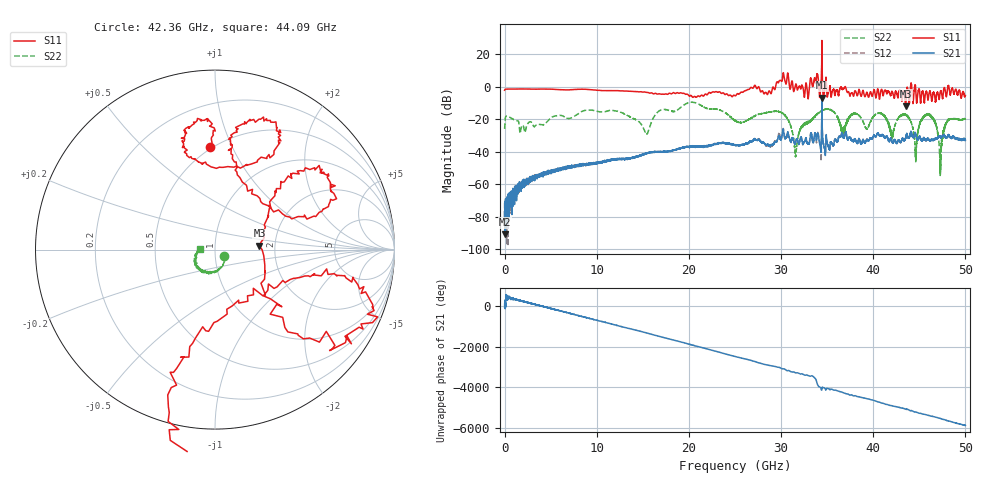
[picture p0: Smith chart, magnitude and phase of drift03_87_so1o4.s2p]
!Created with skrf (http://scikit-rf.org).
# Hz S RI R 50.0
!freq ReS11 ImS11 ReS21 ImS21 ReS12 ImS12 ReS22 ImS22
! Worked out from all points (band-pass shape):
!   10000 points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, 5.3 MHz to 50 GHz, reference 50 ohm
!   highest |S21| = -6.68 dB at 34.43 GHz (marker M1); lowest = -90.8 dB at 85.3 MHz (marker M2)
!   |S21| within 3 dB of the highest: 34.42733 GHz to 34.43518 GHz (7.843 MHz wide, 0.0228 % of centre)
!   lowest |S11| = -12.1 dB at 43.52 GHz (marker M3), VSWR 1.66, Z = 82.8 + j3.94 ohm
!   |S11| at or under -10 dB: 43.48395 GHz to 43.54854 GHz (64.58 MHz wide, 0.148 % of centre); 44.30408 GHz to 44.31874 GHz (14.66 MHz wide, 0.0331 % of centre); 45.13487 GHz to 45.14093 GHz (6.065 MHz wide, 0.0134 % of centre) (the widest 3 of 7)
!   |S22| runs from -54.6 to -9.5 dB; largest |S21 - S12| = 0.12
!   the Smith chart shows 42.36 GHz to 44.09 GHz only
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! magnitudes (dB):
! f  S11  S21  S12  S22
! 5.3 MHz  -2.1  -80.2  -71.4  -25.9
! 85.3 MHz  -1.5  -90.8  -76.7  -19.0
! 2.5 GHz  -1.4  -58.3  -58.8  -22.8
! 8.34 GHz  -1.5  -48.0  -48.0  -15.3
! 15.4 GHz  -3.5  -41.1  -40.8  -29.0
! 16.67 GHz  -4.4  -40.2  -39.9  -15.3
! 20.47 GHz  -6.4  -37.0  -36.7  -9.5
! 25.01 GHz  -5.5  -35.6  -35.9  -20.7
! 29.93 GHz  4.0  -32.5  -31.7  -15.6
! 31.59 GHz  1.4  -33.8  -33.8  -42.5
! 33.34 GHz  2.6  -30.3  -30.5  -20.1
! 34.43 GHz  28.5  -6.7  -8.4  -14.5
! 36.69 GHz  -1.5  -30.0  -30.0  -27.4
! 37.95 GHz  -3.7  -32.3  -32.4  -16.3
! 41.67 GHz  -2.9  -33.5  -33.4  -22.7
! 43.52 GHz  -12.1  -31.6  -31.6  -17.4
! 44.62 GHz  -2.6  -29.3  -29.5  -46.7
! 45.3 GHz  -3.0  -32.9  -33.3  -20.1
! 46.28 GHz  -5.8  -32.4  -32.7  -18.2
! 47.29 GHz  -2.7  -30.9  -30.8  -54.0
! 48.14 GHz  0.7  -30.0  -29.9  -20.5
! 50 GHz  -5.3  -32.9  -32.7  -19.6
